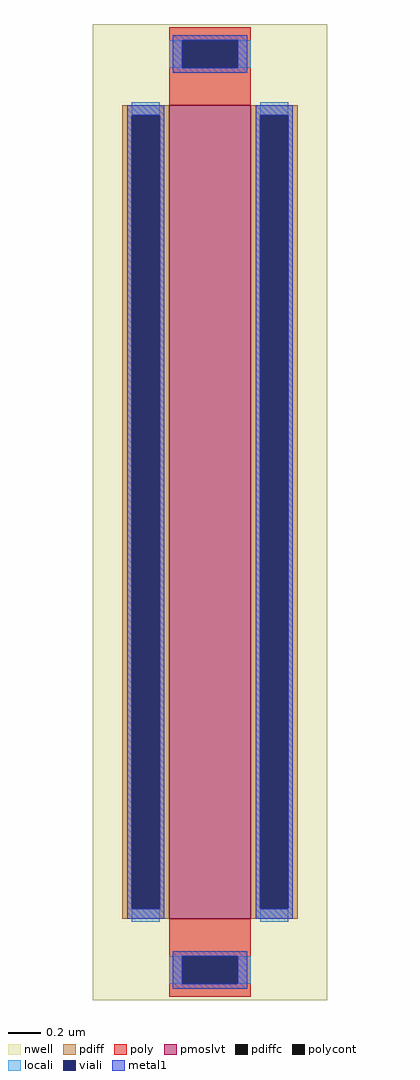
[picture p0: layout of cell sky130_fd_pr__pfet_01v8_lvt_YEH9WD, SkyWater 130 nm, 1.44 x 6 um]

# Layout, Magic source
magic
tech sky130A
magscale 1 2
<< nwell >>
rect -144 -600 144 600
<< pmoslvt >>
rect -50 -500 50 500
<< pdiff >>
rect -108 488 -50 500
rect -108 -488 -96 488
rect -62 -488 -50 488
rect -108 -500 -50 -488
rect 50 488 108 500
rect 50 -488 62 488
rect 96 -488 108 488
rect 50 -500 108 -488
<< pdiffc >>
rect -96 -488 -62 488
rect 62 -488 96 488
<< poly >>
rect -50 580 50 596
rect -50 546 -34 580
rect 34 546 50 580
rect -50 500 50 546
rect -50 -546 50 -500
rect -50 -580 -34 -546
rect 34 -580 50 -546
rect -50 -596 50 -580
<< polycont >>
rect -34 546 34 580
rect -34 -580 34 -546
<< locali >>
rect -50 546 -34 580
rect 34 546 50 580
rect -96 488 -62 504
rect -96 -504 -62 -488
rect 62 488 96 504
rect 62 -504 96 -488
rect -50 -580 -34 -546
rect 34 -580 50 -546
<< viali >>
rect -34 546 34 580
rect -96 -488 -62 488
rect 62 -488 96 488
rect -34 -580 34 -546
<< metal1 >>
rect -46 580 46 586
rect -46 546 -34 580
rect 34 546 46 580
rect -46 540 46 546
rect -102 488 -56 500
rect -102 -488 -96 488
rect -62 -488 -56 488
rect -102 -500 -56 -488
rect 56 488 102 500
rect 56 -488 62 488
rect 96 -488 102 488
rect 56 -500 102 -488
rect -46 -546 46 -540
rect -46 -580 -34 -546
rect 34 -580 46 -546
rect -46 -586 46 -580
<< properties >>
string gencell sky130_fd_pr__pfet_01v8_lvt
string library sky130
string parameters w 5 l 0.5 m 1 nf 1 diffcov 100 polycov 100 guard 0 glc 0 grc 0 gtc 0 gbc 0 tbcov 100 rlcov 100 topc 1 botc 1 poverlap 0 doverlap 1 lmin 0.35 wmin 0.42 compatible {sky130_fd_pr__pfet_01v8  sky130_fd_pr__pfet_01v8_lvt sky130_fd_pr__pfet_01v8_hvt  sky130_fd_pr__pfet_g5v0d10v5} full_metal 0 viasrc 100 viadrn 100 viagate 100 viagb 0 viagr 0 viagl 0 viagt 0
<< end >>
